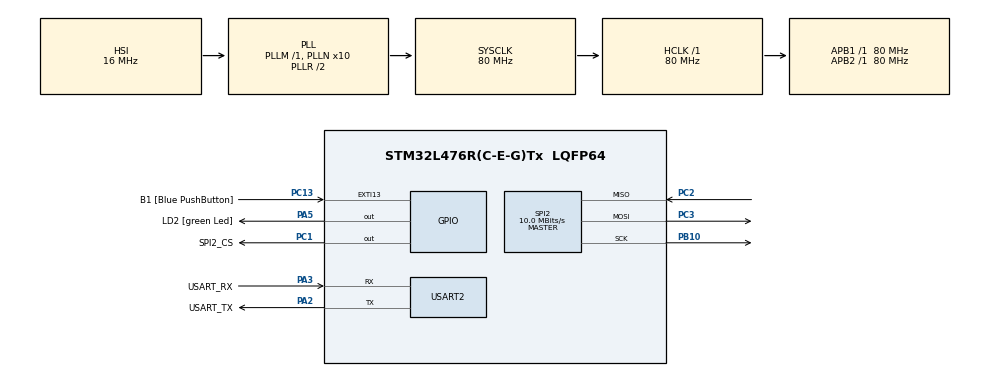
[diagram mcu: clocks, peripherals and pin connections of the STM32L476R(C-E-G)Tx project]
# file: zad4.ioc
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Mcu.Family=STM32L4
Mcu.Name=STM32L476R(C-E-G)Tx
Mcu.Package=LQFP64
NVIC.PriorityGroup=NVIC_PRIORITYGROUP_4
PA13\ (JTMS-SWDIO).GPIO_Label=TMS
PA13\ (JTMS-SWDIO).Mode=Trace_Asynchronous_SW
PA13\ (JTMS-SWDIO).Signal=SYS_JTMS-SWDIO
PA14\ (JTCK-SWCLK).GPIO_Label=TCK
PA14\ (JTCK-SWCLK).Mode=Trace_Asynchronous_SW
PA14\ (JTCK-SWCLK).Signal=SYS_JTCK-SWCLK
PA2.GPIO_Label=USART_TX
PA2.GPIO_Mode=GPIO_MODE_AF_PP
PA2.GPIO_PuPd=GPIO_NOPULL
PA2.GPIO_Speed=GPIO_SPEED_FREQ_VERY_HIGH
PA2.Mode=Asynchronous
PA2.Signal=USART2_TX
PA3.GPIO_Label=USART_RX
PA3.GPIO_Mode=GPIO_MODE_AF_PP
PA3.GPIO_PuPd=GPIO_NOPULL
PA3.GPIO_Speed=GPIO_SPEED_FREQ_VERY_HIGH
PA3.Mode=Asynchronous
PA3.Signal=USART2_RX
PA5.GPIO_Label=LD2 [green Led]
PA5.GPIO_ModeDefaultOutputPP=GPIO_MODE_OUTPUT_PP
PA5.GPIO_PuPd=GPIO_NOPULL
PA5.GPIO_Speed=GPIO_SPEED_FREQ_LOW
PA5.Signal=GPIO_Output
PB10.Mode=Full_Duplex_Master
PB10.Signal=SPI2_SCK
PB3\ (JTDO-TRACESWO).GPIO_Label=SWO
PB3\ (JTDO-TRACESWO).Mode=Trace_Asynchronous_SW
PB3\ (JTDO-TRACESWO).Signal=SYS_JTDO-SWO
PC1.GPIO_Label=SPI2_CS
PC1.Signal=GPIO_Output
PC13.GPIO_Label=B1 [Blue PushButton]
PC13.GPIO_ModeDefaultEXTI=GPIO_MODE_IT_FALLING
PC13.GPIO_PuPd=GPIO_NOPULL
PC13.Signal=GPXTI13
PC14-OSC32_IN\ (PC14).Mode=LSE-External-Oscillator
PC14-OSC32_IN\ (PC14).Signal=RCC_OSC32_IN
PC15-OSC32_OUT\ (PC15).Mode=LSE-External-Oscillator
PC15-OSC32_OUT\ (PC15).Signal=RCC_OSC32_OUT
PC2.Mode=Full_Duplex_Master
PC2.Signal=SPI2_MISO
PC3.Mode=Full_Duplex_Master
PC3.Signal=SPI2_MOSI
PH0-OSC_IN\ (PH0).Signal=RCC_OSC_IN
PH1-OSC_OUT\ (PH1).Signal=RCC_OSC_OUT
ProjectManager.HeapSize=0x200
ProjectManager.StackSize=0x400
ProjectManager.TargetToolchain=STM32CubeIDE
RCC.ADCFreq_Value=64000000
RCC.AHBFreq_Value=80000000
RCC.APB1Freq_Value=80000000
RCC.APB1TimFreq_Value=80000000
RCC.APB2Freq_Value=80000000
RCC.APB2TimFreq_Value=80000000
RCC.CortexFreq_Value=80000000
RCC.HCLKFreq_Value=80000000
RCC.HSE_VALUE=8000000
RCC.HSI_VALUE=16000000
RCC.MSI_VALUE=4000000
RCC.PLLN=10
RCC.PLLSourceVirtual=RCC_PLLSOURCE_HSI
RCC.PREFETCH_ENABLE=1
RCC.SYSCLKFreq_VALUE=80000000
RCC.SYSCLKSource=RCC_SYSCLKSOURCE_PLLCLK
RCC.USBFreq_Value=64000000
RCC.VCOOutputFreq_Value=160000000
SPI2.BaudRatePrescaler=SPI_BAUDRATEPRESCALER_8
SPI2.CalculateBaudRate=10.0 MBits/s
SPI2.DataSize=SPI_DATASIZE_8BIT
SPI2.Direction=SPI_DIRECTION_2LINES
SPI2.Mode=SPI_MODE_MASTER
SPI2.VirtualType=VM_MASTER
USART2.VirtualMode-Asynchronous=VM_ASYNC
board=NUCLEO-L476RG

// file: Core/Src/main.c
/* USER CODE BEGIN Header */
/**
  ******************************************************************************
  * @file           : main.c
  * @brief          : Main program body
  ******************************************************************************
  * @attention
  *
  * Copyright (c) 2025 STMicroelectronics.
  * All rights reserved.
  *
  * This software is licensed under terms that can be found in the LICENSE file
  * in the root directory of this software component.
  * If no LICENSE file comes with this software, it is provided AS-IS.
  *
  ******************************************************************************
  */
/* USER CODE END Header */
#include "main.h"
#include "spi.h"
#include "usart.h"
#include "gpio.h"

/* USER CODE BEGIN Includes */
#include "BMP280.h"
#include <stdio.h>
/* USER CODE END Includes */

void SystemClock_Config(void);

/* USER CODE BEGIN 0 */
float tempC = 0;
uint32_t mtempC = 0;
uint32_t pressure = 0;

int __io_putchar(int ch)
{
    uint8_t c = (uint8_t)ch;

    if(c == '\n')
    {
        uint8_t cr = '\r';
        HAL_UART_Transmit(&huart2, &cr, 1, HAL_MAX_DELAY);
    }

    HAL_UART_Transmit(&huart2, &c, 1, HAL_MAX_DELAY);
    return 1;
}
/* USER CODE END 0 */

int main(void)
{

  /* MCU Configuration--------------------------------------------------------*/

  /* Reset of all peripherals, Initializes the Flash interface and the Systick. */
  HAL_Init();

  /* Configure the system clock */
  SystemClock_Config();

  /* Initialize all configured peripherals */
  MX_GPIO_Init();
  MX_USART2_UART_Init();
  MX_SPI2_Init();
  /* USER CODE BEGIN 2 */
  BMP280 bmp;

  BMP280_init(&bmp, &hspi2, SPI2_CS_GPIO_Port, SPI2_CS_Pin);
  BMP280_readFullCalibration(&bmp);
  HAL_Delay(100);
  BMP280_fast_temp_continous_measurment(&bmp);
  HAL_Delay(100);

  /* USER CODE END 2 */

  /* Infinite loop */
  /* USER CODE BEGIN WHILE */
  while (1)
  {
	  tempC = BMP280_read_temperature(&bmp);
	  mtempC = 100 * tempC;
	  pressure = BMP280_read_pressure(&bmp);
	  printf("temp: %d \n", mtempC);

    /* USER CODE END WHILE */

  }
}

void SystemClock_Config(void)
{
  RCC_OscInitTypeDef RCC_OscInitStruct = {0};
  RCC_ClkInitTypeDef RCC_ClkInitStruct = {0};

  /** Configure the main internal regulator output voltage
  */
  if (HAL_PWREx_ControlVoltageScaling(PWR_REGULATOR_VOLTAGE_SCALE1) != HAL_OK)
  {
    Error_Handler();
  }

  /** Initializes the RCC Oscillators according to the specified parameters
  * in the RCC_OscInitTypeDef structure.
  */
  RCC_OscInitStruct.OscillatorType = RCC_OSCILLATORTYPE_HSI;
  RCC_OscInitStruct.HSIState = RCC_HSI_ON;
  RCC_OscInitStruct.HSICalibrationValue = RCC_HSICALIBRATION_DEFAULT;
  RCC_OscInitStruct.PLL.PLLState = RCC_PLL_ON;
  RCC_OscInitStruct.PLL.PLLSource = RCC_PLLSOURCE_HSI;
  RCC_OscInitStruct.PLL.PLLM = 1;
  RCC_OscInitStruct.PLL.PLLN = 10;
  RCC_OscInitStruct.PLL.PLLP = RCC_PLLP_DIV7;
  RCC_OscInitStruct.PLL.PLLQ = RCC_PLLQ_DIV2;
  RCC_OscInitStruct.PLL.PLLR = RCC_PLLR_DIV2;
  if (HAL_RCC_OscConfig(&RCC_OscInitStruct) != HAL_OK)
  {
    Error_Handler();
  }

  /** Initializes the CPU, AHB and APB buses clocks
  */
  RCC_ClkInitStruct.ClockType = RCC_CLOCKTYPE_HCLK|RCC_CLOCKTYPE_SYSCLK
                              |RCC_CLOCKTYPE_PCLK1|RCC_CLOCKTYPE_PCLK2;
  RCC_ClkInitStruct.SYSCLKSource = RCC_SYSCLKSOURCE_PLLCLK;
  RCC_ClkInitStruct.AHBCLKDivider = RCC_SYSCLK_DIV1;
  RCC_ClkInitStruct.APB1CLKDivider = RCC_HCLK_DIV1;
  RCC_ClkInitStruct.APB2CLKDivider = RCC_HCLK_DIV1;

  if (HAL_RCC_ClockConfig(&RCC_ClkInitStruct, FLASH_LATENCY_4) != HAL_OK)
  {
    Error_Handler();
  }
}

void Error_Handler(void)
{
  __disable_irq();
  while (1)
  {
  }
}
